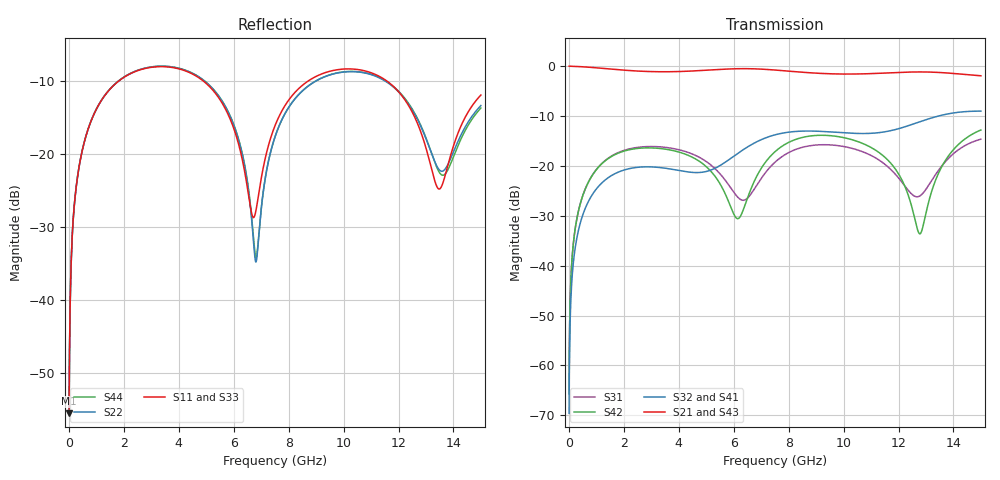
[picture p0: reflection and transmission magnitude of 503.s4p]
! Created with skrf 1.8.0 (http://scikit-rf.org).
# GHz S RI R 50.0
!freq ReS11 ImS11 ReS12 ImS12 ReS13 ImS13
! ReS14 ImS14
! ReS21 ImS21 ReS22 ImS22 ReS23 ImS23
! ReS24 ImS24
! ReS31 ImS31 ReS32 ImS32 ReS33 ImS33
! ReS34 ImS34
! ReS41 ImS41 ReS42 ImS42 ReS43 ImS43
! ReS44 ImS44
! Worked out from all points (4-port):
!   2499 points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, 5 MHz to 15 GHz, reference 50 ohm
!   strongest paths, dB at 5 MHz, 3.476 GHz, 7.19 GHz, 11.1 GHz, 15 GHz:
!     S21: 0.0, -1.1, -0.7, -1.5, -1.9
!     S43: 0.0, -1.1, -0.7, -1.5, -1.9
!     S32: -69.6, -20.4, -14.3, -13.4, -9.0
!     S41: -69.6, -20.5, -14.3, -13.5, -9.0
!     S42: -65.7, -16.6, -19.0, -16.6, -12.8
!     S31: -65.7, -16.3, -21.1, -18.2, -14.6
!   lowest |S11| = -55.5 dB at 5 MHz (marker M1), VSWR 1.00, Z = 50.1 + j0.102 ohm
!   |S11| at or under -10 dB: start of sweep to 1.834 GHz; 4.87 GHz to 8.736 GHz (3.867 GHz wide, 56.8 % of centre); 11.55 GHz to end of sweep
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0.005  0.00133 0.00101  0.9986 -0.00259  6.56e-05 0.000516  -6.37e-05 -0.000325
       0.9986 -0.00259  0.00133 0.00101  -6.37e-05 -0.000325  6.55e-05 0.000516
       6.56e-05 0.000516  -6.37e-05 -0.000325  0.00133 0.00101  0.9986 -0.00259
       -6.37e-05 -0.000325  6.55e-05 0.000516  0.9986 -0.00259  0.00133 0.00101
0.4126719  0.0257 0.0868  0.9644 -0.2113  0.0123 0.04  -0.01 -0.0249
           0.9644 -0.2113  0.0258 0.0868  -0.01 -0.0249  0.0118 0.0402
           0.0123 0.04  -0.01 -0.0249  0.0257 0.0868  0.9644 -0.2113
           -0.01 -0.0249  0.0118 0.0402  0.9644 -0.2113  0.0258 0.0868
1.975823  0.2787 0.1772  0.5288 -0.7432  0.1322 0.0522  -0.0902 -0.00284
          0.5288 -0.7432  0.2808 0.1759  -0.0903 -0.00275  0.1254 0.0621
          0.1322 0.0522  -0.0903 -0.00275  0.2787 0.1773  0.5288 -0.7432
          -0.0902 -0.00284  0.1254 0.0621  0.5288 -0.7432  0.2809 0.1759
6.727803  0.0365 0.000208  -0.9366 -0.0741  -0.0378 0.0432  -0.00989 0.1678
          -0.9366 -0.0741  0.0179 -0.0158  -0.00872 0.1679  0.0432 0.0528
          -0.0378 0.0432  -0.00872 0.1679  0.0356 -0.000717  -0.9366 -0.0744
          -0.00989 0.1678  0.0432 0.0528  -0.9366 -0.0744  0.019 -0.0166
10.82326  0.3534 -0.0957  0.126 0.8284  0.1075 -0.0801  0.1922 -0.0838
          0.126 0.8284  0.3489 -0.063  0.1922 -0.0875  0.1118 -0.1171
          0.1075 -0.0801  0.1922 -0.0875  0.3545 -0.0916  0.1263 0.828
          0.1922 -0.0838  0.1118 -0.1171  0.1263 0.828  0.3495 -0.0681
12.78033  0.0919 -0.1134  0.7582 0.4353  -0.0499 -0.00304  0.1357 -0.2416
          0.7582 0.4353  0.115 -0.1089  0.1308 -0.2442  -0.0208 0.00125
          -0.0499 -0.00304  0.1308 -0.2442  0.0991 -0.1141  0.7575 0.4354
          0.1357 -0.2416  -0.0208 0.00125  0.7575 0.4354  0.1117 -0.1153
15  0.2093 0.1396  0.6941 -0.398  0.1358 0.1258  -0.2219 -0.2751
    0.6941 -0.398  0.1819 0.1113  -0.2267 -0.2715  0.2145 0.0797
    0.1358 0.1258  -0.2267 -0.2715  0.2081 0.1295  0.696 -0.3984
    -0.2219 -0.2751  0.2145 0.0797  0.696 -0.3984  0.1746 0.1076
